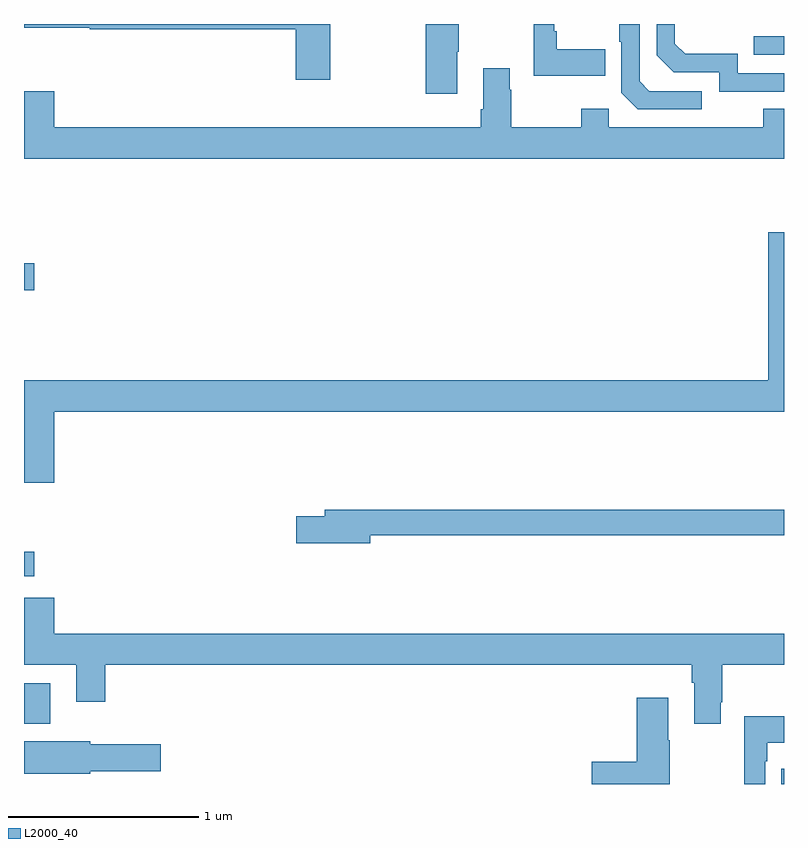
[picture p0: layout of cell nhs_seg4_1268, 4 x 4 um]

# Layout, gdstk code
import gdstk
lib = gdstk.Library(unit=1e-6, precision=1e-09)
def R(c, l, rs):  # rectangles x0, y0, x1, y1
    for r in rs: c.add(gdstk.rectangle(r[:2], r[2:], *l))
def P(c, l, *ps):  # polygons
    for p in ps: c.add(gdstk.Polygon(p, *l))
L2000_40 = (2000, 40)

nhs_seg4_1268 = lib.new_cell('nhs_seg4_1268')
R(nhs_seg4_1268, L2000_40, [(180.985,754.9,181,754.981), (177,755.217,177.139,755.431), (177,755.993,177.055,756.123), (177,757.498,177.055,757.64), (180.841,758.739,181,758.835)])
P(nhs_seg4_1268, L2000_40, [(180.568,758.547),(180.291,758.547),(180.24,758.598),(180.24,758.9),(180.132,758.9),(180.132,758.807),(180.144,758.807),(180.144,758.538),(180.231,758.451),(180.568,758.451)],
  [(181,758.64),(180.756,758.64),(180.756,758.743),(180.479,758.743),(180.426,758.796),(180.426,758.9),(180.33,758.9),(180.33,758.736),(180.42,758.646),(180.66,758.646),(180.66,758.544),(181,758.544)],
  [(180.059,758.767),(179.803,758.767),(179.803,758.863),(179.79,758.863),(179.79,758.9),(179.682,758.9),(179.682,758.627),(180.059,758.627)],
  [(179.281,758.755),(179.289,758.755),(179.289,758.9),(179.114,758.9),(179.114,758.532),(179.281,758.532)],
  [(178.613,758.9),(177,758.9),(177,758.88),(177.346,758.88),(177.346,758.872),(178.43,758.872),(178.43,758.607),(178.613,758.607)],
  [(181,758.455),(180.892,758.455),(180.892,758.356),(180.078,758.356),(180.078,758.455),(179.932,758.455),(179.932,758.356),(179.565,758.356),(179.565,758.555),(179.557,758.555),(179.557,758.668),(179.417,758.668),(179.417,758.452),(179.405,758.452),(179.405,758.356),(177.16,758.356),(177.16,758.545),(177,758.545),(177,758.192),(181,758.192)],
  [(177.16,756.86),(181,756.86),(181,757.804),(180.917,757.804),(180.917,757.024),(177,757.024),(177,756.486),(177.16,756.486)],
  [(178.822,756.208),(181,756.208),(181,756.344),(178.583,756.344),(178.583,756.308),(178.434,756.308),(178.434,756.166),(178.822,756.166)],
  [(180.667,755.329),(180.675,755.329),(180.675,755.528),(181,755.528),(181,755.692),(177.16,755.692),(177.16,755.881),(177,755.881),(177,755.528),(177.275,755.528),(177.275,755.334),(177.428,755.334),(177.428,755.528),(180.515,755.528),(180.515,755.432),(180.527,755.432),(180.527,755.217),(180.667,755.217)],
  [(180.399,755.129),(180.391,755.129),(180.391,755.353),(180.224,755.353),(180.224,755.018),(179.988,755.018),(179.988,754.9),(180.399,754.9)],
  [(180.9,755.021),(180.913,755.021),(180.913,755.117),(181,755.117),(181,755.257),(180.792,755.257),(180.792,754.9),(180.9,754.9)],
  [(177.348,754.967),(177.721,754.967),(177.721,755.109),(177.348,755.109),(177.348,755.125),(177,755.125),(177,754.955),(177.348,754.955)])

lib.write_gds('nhs_seg4_1268.gds')
